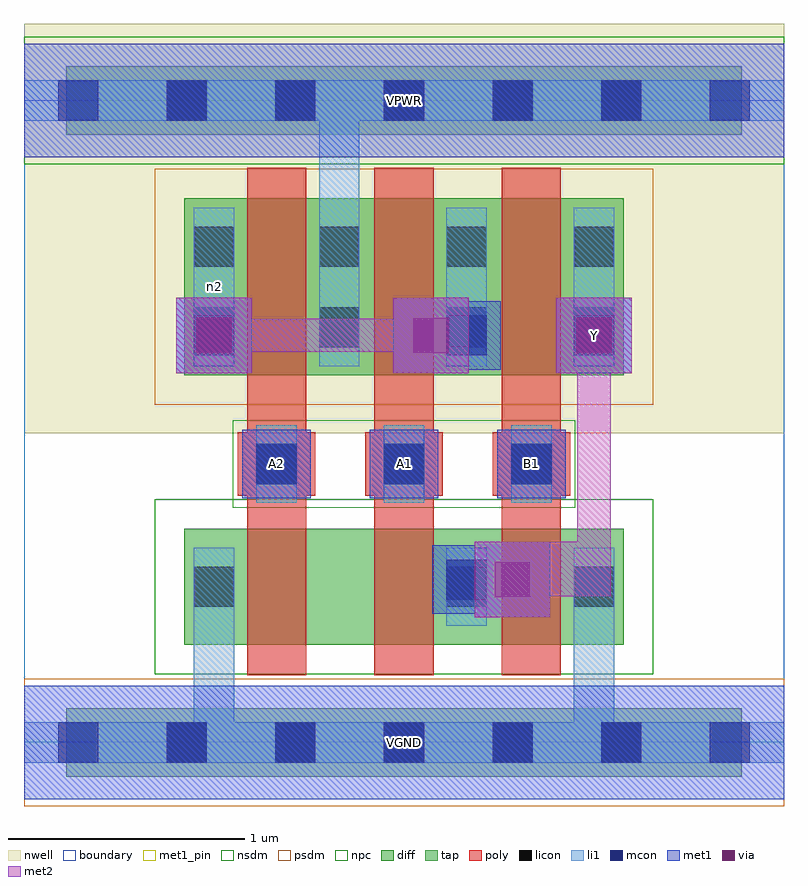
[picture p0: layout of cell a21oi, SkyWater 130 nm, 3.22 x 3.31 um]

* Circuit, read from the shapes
.subckt a21oi A1 A2 B1 VGND VPWR Y n2
XM1 n1 A2 VGND VGND sky130_fd_pr__nfet_01v8 w=0.49 l=0.25
XM2 Y A1 n1 VGND sky130_fd_pr__nfet_01v8 w=0.49 l=0.25
XM3 VGND B1 Y VGND sky130_fd_pr__nfet_01v8 w=0.49 l=0.25
XM4 VPWR A2 n2 VPWR sky130_fd_pr__pfet_01v8 w=0.75 l=0.25
XM5 n2 A1 VPWR VPWR sky130_fd_pr__pfet_01v8 w=0.75 l=0.25
XM6 Y B1 n2 VPWR sky130_fd_pr__pfet_01v8 w=0.75 l=0.25
.ends

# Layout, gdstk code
import gdstk
lib = gdstk.Library(unit=1e-6, precision=1e-09)
def R(c, l, rs):  # rectangles x0, y0, x1, y1
    for r in rs: c.add(gdstk.rectangle(r[:2], r[2:], *l))
def A(c, l, x, y, w, h, nx, ny, dx, dy):  # array of equal rectangles
    R(c, l, [(x+i*dx, y+j*dy, x+i*dx+w, y+j*dy+h) for i in range(nx) for j in range(ny)])
nwell = (64, 20)
diff = (65, 20)
tap = (65, 44)
poly = (66, 20)
licon = (66, 44)
li1 = (67, 20)
mcon = (67, 44)
met1_pin = (68, 16)
met1 = (68, 20)
via = (68, 44)
met2 = (69, 20)
nsdm = (93, 44)
psdm = (94, 20)
npc = (95, 20)
boundary = (235, 4)

a21oi = lib.new_cell('a21oi')
R(a21oi, nwell, [(0,1.31,3.22,3.045)])
R(a21oi, diff, [(0.68,0.415,2.54,0.905), (0.68,1.555,2.54,2.305)])
R(a21oi, tap, [(0.18,-0.145,3.04,0.145), (0.18,2.575,3.04,2.865)])
A(a21oi, poly, 0.945, 0.285, 0.25, 2.15, 3, 1, 0.54, 0)
A(a21oi, poly, 0.905, 1.045, 0.33, 0.27, 3, 1, 0.54, 0)
A(a21oi, licon, 0.605, -0.085, 0.17, 0.17, 5, 2, 0.46, 2.72)
A(a21oi, licon, 0.985, 1.095, 0.17, 0.17, 3, 1, 0.54, 0)
A(a21oi, licon, 1.25, 1.675, 0.17, 0.17, 3, 2, 0.54, 0.34)
R(a21oi, licon, [(0.72,0.575,0.89,0.745), (1.79,0.575,1.96,0.745), (2.33,0.575,2.5,0.745), (0.72,1.675,0.89,1.845), (0.72,2.015,0.89,2.185)])
A(a21oi, li1, 0.985, 1.015, 0.17, 0.33, 3, 1, 0.54, 0)
A(a21oi, li1, 1.25, 1.595, 0.17, 0.67, 3, 1, 0.54, 0)
R(a21oi, li1, [(0,-0.085,3.22,0.085), (0.72,-0.085,0.89,0.825), (2.33,-0.085,2.5,0.825), (0.72,0.495,0.89,0.825), (1.79,0.495,1.96,0.825), (2.33,0.495,2.5,0.825), (0.72,1.595,0.89,2.265), (1.25,1.595,1.42,2.805), (0,2.635,3.22,2.805)])
A(a21oi, mcon, 0.145, -0.085, 0.17, 0.17, 7, 2, 0.46, 2.72)
A(a21oi, mcon, 0.985, 1.095, 0.17, 0.17, 3, 1, 0.54, 0)
R(a21oi, mcon, [(1.79,0.605,1.96,0.775), (0.72,1.64,0.89,1.81), (1.79,1.64,1.96,1.81), (2.33,1.64,2.5,1.81)])
A(a21oi, met1_pin, 0.925, 1.035, 0.29, 0.29, 3, 1, 0.54, 0)
R(a21oi, met1_pin, [(0,-0.24,3.22,0.24), (2.255,1.565,2.575,1.885), (0,2.48,3.22,2.96)])
A(a21oi, met1, 0.925, 1.035, 0.29, 0.29, 3, 1, 0.54, 0)
R(a21oi, met1, [(0,-0.24,3.22,0.24), (1.91,0.53,2.23,0.85), (1.73,0.545,2.02,0.835), (1.805,0.62,2.14,0.76), (0.645,1.565,0.965,1.885), (1.565,1.565,1.885,1.885), (2.255,1.565,2.575,1.885), (0.66,1.58,0.95,1.87), (1.73,1.58,2.02,1.87), (2.27,1.58,2.56,1.87), (1.655,1.655,1.945,1.795), (0,2.48,3.22,2.96)])
R(a21oi, via, [(1.995,0.615,2.145,0.765), (0.73,1.65,0.88,1.8), (1.65,1.65,1.8,1.8), (2.34,1.65,2.49,1.8)])
R(a21oi, met2, [(1.91,0.53,2.23,0.85), (2,0.62,2.485,0.76), (2.23,0.62,2.345,0.85), (2.345,0.62,2.485,1.795), (0.645,1.565,0.965,1.885), (1.565,1.565,1.885,1.885), (2.255,1.565,2.575,1.885), (0.735,1.655,1.795,1.795)])
R(a21oi, nsdm, [(0.555,0.29,2.665,1.03), (0,2.45,3.22,2.99)])
R(a21oi, psdm, [(0,-0.27,3.22,0.27), (0.555,1.43,2.665,2.43)])
R(a21oi, npc, [(0.885,0.995,2.335,1.365)])
R(a21oi, boundary, [(0,0,3.22,2.72)])
a21oi.add(gdstk.Label('n2', (0.805,1.93), layer=67, texttype=5))
a21oi.add(gdstk.Label('A1', (1.61,1.18), layer=68, texttype=5))
a21oi.add(gdstk.Label('A2', (1.07,1.18), layer=68, texttype=5))
a21oi.add(gdstk.Label('B1', (2.15,1.18), layer=68, texttype=5))
a21oi.add(gdstk.Label('Y', (2.415,1.725), layer=68, texttype=5))
a21oi.add(gdstk.Label('VPWR', (1.61,2.72), layer=68, texttype=5))
a21oi.add(gdstk.Label('VGND', (1.61,0), layer=68, texttype=5))
a21oi.add(gdstk.Label('A1', (1.61,1.18), layer=68, texttype=16))
a21oi.add(gdstk.Label('A2', (1.07,1.18), layer=68, texttype=16))
a21oi.add(gdstk.Label('B1', (2.15,1.18), layer=68, texttype=16))
a21oi.add(gdstk.Label('Y', (2.415,1.725), layer=68, texttype=16))
a21oi.add(gdstk.Label('VPWR', (1.61,2.72), layer=68, texttype=16))
a21oi.add(gdstk.Label('VGND', (1.61,0), layer=68, texttype=16))

lib.write_gds('a21oi.gds')
